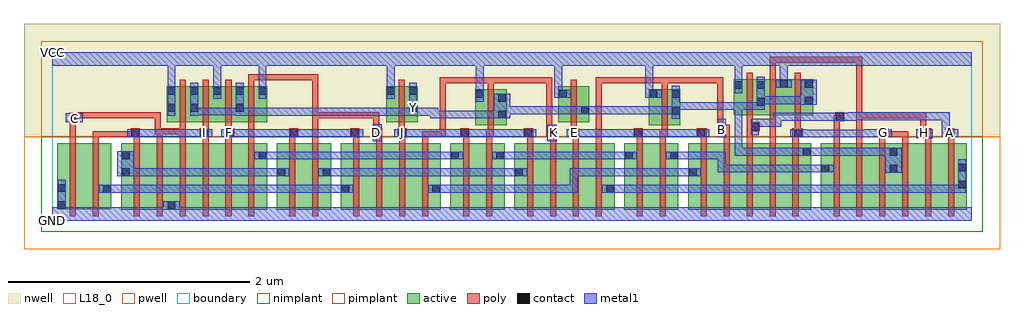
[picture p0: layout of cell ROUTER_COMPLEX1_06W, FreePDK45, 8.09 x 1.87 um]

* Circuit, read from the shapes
.subckt ROUTER_COMPLEX1_06W A B C D E F G GND H I J K VCC Y
M1 n1 C GND VSUBS nfet w=0.55u l=0.05u
M2 n2 I n1 VSUBS nfet w=0.55u l=0.05u
M3 n3 I n4 VSUBS nfet w=0.55u l=0.05u
M4 GND C n3 VSUBS nfet w=0.55u l=0.05u
M5 n5 C GND VSUBS nfet w=0.55u l=0.05u
M6 n6 I n5 VSUBS nfet w=0.55u l=0.05u
M7 n7 F n6 VSUBS nfet w=0.55u l=0.05u
M8 n8 D n7 VSUBS nfet w=0.55u l=0.05u
M9 n9 F n4 VSUBS nfet w=0.55u l=0.05u
M10 n10 D n9 VSUBS nfet w=0.55u l=0.05u
M11 n11 F n2 VSUBS nfet w=0.55u l=0.05u
M12 n12 D n11 VSUBS nfet w=0.55u l=0.05u
M13 n13 J n12 VSUBS nfet w=0.55u l=0.05u
M14 n14 K n13 VSUBS nfet w=0.55u l=0.05u
M15 n15 J n8 VSUBS nfet w=0.55u l=0.05u
M16 n16 K n15 VSUBS nfet w=0.55u l=0.05u
M17 n17 J n10 VSUBS nfet w=0.55u l=0.05u
M18 n18 K n17 VSUBS nfet w=0.55u l=0.05u
M19 n19 E n18 VSUBS nfet w=0.55u l=0.05u
M20 n20 B n19 VSUBS nfet w=0.55u l=0.05u
M21 n21 E n16 VSUBS nfet w=0.55u l=0.05u
M22 n22 B n21 VSUBS nfet w=0.55u l=0.05u
M23 n23 E n14 VSUBS nfet w=0.55u l=0.05u
M24 n24 B n23 VSUBS nfet w=0.55u l=0.05u
M25 n25 A n24 VSUBS nfet w=0.55u l=0.05u
M26 n26 H n25 VSUBS nfet w=0.55u l=0.05u
M27 Y G n26 VSUBS nfet w=0.55u l=0.05u
M28 n27 A n22 VSUBS nfet w=0.55u l=0.05u
M29 n28 H n27 VSUBS nfet w=0.55u l=0.05u
M30 Y G n28 VSUBS nfet w=0.55u l=0.05u
M31 n29 G Y VSUBS nfet w=0.55u l=0.05u
M32 n30 H n29 VSUBS nfet w=0.55u l=0.05u
M33 n20 A n30 VSUBS nfet w=0.55u l=0.05u
M34 Y C VCC n31 pfet w=0.3u l=0.05u
M35 VCC I Y n31 pfet w=0.3u l=0.05u
M36 Y F VCC n31 pfet w=0.3u l=0.05u
M37 VCC D Y n31 pfet w=0.3u l=0.05u
M38 Y J VCC n31 pfet w=0.3u l=0.05u
M39 Y K VCC n31 pfet w=0.3u l=0.05u
M40 Y E VCC n31 pfet w=0.3u l=0.05u
M41 Y B VCC n31 pfet w=0.3u l=0.05u
M42 Y A VCC n31 pfet w=0.3u l=0.05u
M43 VCC H Y n31 pfet w=0.3u l=0.05u
M44 Y G VCC n31 pfet w=0.3u l=0.05u
.ends

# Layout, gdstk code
import gdstk
lib = gdstk.Library(unit=1e-6, precision=1e-09)
def R(c, l, rs):  # rectangles x0, y0, x1, y1
    for r in rs: c.add(gdstk.rectangle(r[:2], r[2:], *l))
def A(c, l, x, y, w, h, nx, ny, dx, dy):  # array of equal rectangles
    R(c, l, [(x+i*dx, y+j*dy, x+i*dx+w, y+j*dy+h) for i in range(nx) for j in range(ny)])
active = (1, 0)
pwell = (2, 0)
nwell = (3, 0)
nimplant = (4, 0)
pimplant = (5, 0)
poly = (9, 0)
contact = (10, 0)
metal1 = (11, 0)
L18_0 = (18, 0)
boundary = (235, 0)

router_complex1_06w = lib.new_cell('ROUTER_COMPLEX1_06W')
A(router_complex1_06w, active, 5.495, 0.092, 0.19, 0.55, 3, 1, 0.19, 0)
A(router_complex1_06w, active, 2.235, 0.095, 0.075, 0.547, 3, 1, 1.44, 0)
R(router_complex1_06w, active, [(0.57,0.092,0.795,0.642), (0.795,0.092,1.025,0.642), (0.95,0.092,1.175,0.642), (0.95,0.092,1.025,0.642), (1.175,0.092,1.365,0.642), (1.365,0.092,1.555,0.642), (1.555,0.092,1.78,0.642), (1.86,0.092,2.085,0.642), (2.085,0.092,2.31,0.642), (2.39,0.092,2.615,0.642), (2.615,0.092,2.805,0.642), (2.805,0.092,2.995,0.642), (2.995,0.092,3.22,0.642), (3.3,0.092,3.525,0.642), (3.525,0.092,3.75,0.642), (3.83,0.092,4.055,0.642), (4.055,0.092,4.245,0.642), (4.245,0.092,4.435,0.642), (4.435,0.092,4.66,0.642), (4.74,0.092,4.965,0.642), (4.965,0.092,5.19,0.642), (5.27,0.092,5.495,0.642), (6.065,0.092,6.29,0.642), (6.37,0.092,6.595,0.642), (6.595,0.092,6.785,0.642), (6.785,0.092,7.01,0.642), (6.935,0.092,7.165,0.642), (7.165,0.092,7.355,0.642), (7.355,0.092,7.58,0.642), (0.04,0.095,0.265,0.645), (0.04,0.095,0.115,0.645), (0.265,0.095,0.49,0.645), (0.415,0.095,0.49,0.645), (0.57,0.095,0.675,0.642), (1.705,0.095,1.78,0.642), (1.86,0.095,1.965,0.642), (2.39,0.095,2.495,0.642), (3.145,0.095,3.22,0.385), (3.3,0.095,3.405,0.642), (3.83,0.095,3.935,0.642), (4.585,0.095,4.66,0.385), (4.74,0.095,4.845,0.642), (5.27,0.095,5.375,0.642), (6.215,0.095,6.29,0.642), (6.37,0.095,6.475,0.642), (6.935,0.095,7.01,0.642), (7.505,0.095,7.58,0.642), (3.505,0.792,3.765,1.092), (3.69,0.792,3.765,1.092), (4.945,0.792,5.205,1.092), (5.13,0.792,5.205,1.092), (0.95,0.817,1.215,1.117), (0.95,0.817,1.025,1.117), (1.14,0.817,1.405,1.117), (1.14,0.817,1.215,1.117), (1.33,0.817,1.59,1.117), (1.515,0.817,1.78,1.117), (1.515,0.817,1.59,1.117), (2.767,0.817,3.027,1.117), (2.952,0.817,3.027,1.117), (4.192,0.817,4.452,1.117), (4.377,0.817,4.452,1.117), (1.705,0.85,1.78,1.117), (5.65,0.875,5.91,1.175), (5.835,0.875,6.1,1.175), (5.835,0.875,5.91,1.175), (6.025,0.875,6.307,1.175), (6.232,0.882,6.307,1.175), (1.33,0.952,1.405,1.117), (2.767,0.952,2.842,1.117), (3.505,0.952,3.58,1.092), (4.192,0.952,4.267,1.117), (4.945,0.952,5.02,1.092), (5.65,0.987,5.725,1.175), (6.025,1.007,6.1,1.175)])
R(router_complex1_06w, pwell, [(-0.235,-0.235,7.855,0.7)])
R(router_complex1_06w, nwell, [(-0.235,0.7,7.855,1.635)])
R(router_complex1_06w, nimplant, [(-0.09,-0.09,7.71,0.7)])
R(router_complex1_06w, pimplant, [(-0.09,0.7,7.71,1.49)])
A(router_complex1_06w, poly, 0.675, 0.037, 0.05, 0.66, 6, 1, 0.19, 0)
A(router_complex1_06w, poly, 2.495, 0.037, 0.05, 0.66, 4, 1, 0.19, 0)
A(router_complex1_06w, poly, 3.935, 0.037, 0.05, 0.66, 4, 1, 0.19, 0)
A(router_complex1_06w, poly, 5.375, 0.037, 0.05, 0.66, 5, 1, 0.19, 0)
A(router_complex1_06w, poly, 6.475, 0.037, 0.05, 0.66, 6, 1, 0.19, 0)
A(router_complex1_06w, poly, 1.435, 0.647, 0.05, 0.095, 3, 1, 0.53, 0)
A(router_complex1_06w, poly, 2.685, 0.647, 0.05, 0.095, 3, 1, 0.19, 0)
A(router_complex1_06w, poly, 3.935, 0.647, 0.05, 0.095, 3, 1, 0.19, 0)
A(router_complex1_06w, poly, 6.855, 0.647, 0.05, 0.095, 4, 1, 0.19, 0)
A(router_complex1_06w, poly, 1.055, 0.717, 0.05, 0.095, 4, 1, 0.19, 0)
A(router_complex1_06w, poly, 1.055, 0.762, 0.05, 0.41, 4, 1, 0.19, 0)
R(router_complex1_06w, poly, [(1.965,0.037,2.015,0.697), (2.155,0.037,2.205,0.697), (3.405,0.037,3.455,0.697), (3.595,0.037,3.645,0.697), (4.845,0.037,4.895,0.697), (5.035,0.037,5.085,0.697), (0.145,0.04,0.195,0.7), (0.335,0.04,0.385,0.7), (0.675,0.647,0.725,0.742), (0.865,0.647,0.915,0.767), (1.055,0.647,1.105,0.767), (1.245,0.647,1.295,0.742), (1.625,0.647,1.675,0.767), (2.155,0.647,2.205,0.9), (3.405,0.647,3.455,0.742), (3.595,0.647,3.645,0.742), (4.505,0.647,4.555,1.192), (4.845,0.647,4.895,0.742), (5.035,0.647,5.085,0.742), (5.375,0.647,5.425,0.742), (5.565,0.647,5.615,0.772), (5.755,0.647,5.805,0.792), (5.945,0.647,5.995,0.742), (6.135,0.647,6.185,0.742), (6.475,0.647,6.525,0.875), (6.665,0.647,6.715,0.9), (0.145,0.65,0.195,0.872), (0.335,0.65,0.385,0.745), (0.65,0.692,0.725,0.767), (1.222,0.692,1.297,0.767), (1.432,0.692,1.507,0.767), (1.965,0.692,2.04,0.767), (2.47,0.692,2.545,0.767), (2.66,0.692,2.735,0.767), (2.862,0.692,2.937,0.767), (3.065,0.692,3.127,0.742), (3.077,0.692,3.127,0.742), (3.077,0.692,3.127,0.742), (3.077,0.692,3.127,0.742), (3.077,0.692,3.127,0.742), (3.077,0.692,3.26,0.742), (3.21,0.692,3.26,0.742), (3.21,0.692,3.26,1.192), (3.38,0.692,3.455,0.767), (3.595,0.692,3.66,0.742), (3.61,0.692,3.66,0.787), (3.907,0.692,3.985,0.767), (4.092,0.692,4.175,0.767), (4.292,0.692,4.367,0.767), (4.82,0.692,4.895,0.767), (5.035,0.692,5.1,0.742), (5.05,0.692,5.1,0.787), (5.34,0.692,5.425,0.767), (5.945,0.692,5.995,0.742), (5.945,0.692,5.995,0.87), (6.135,0.692,6.22,0.767), (6.852,0.692,6.927,0.767), (6.877,0.692,7.095,0.742), (7.045,0.692,7.095,0.742), (7.045,0.692,7.095,0.742), (7.045,0.692,7.095,0.742), (7.192,0.692,7.285,0.767), (7.402,0.692,7.477,0.767), (0.335,0.695,0.385,0.745), (0.335,0.695,0.385,0.745), (0.335,0.695,0.385,0.745), (0.335,0.695,0.7,0.745), (0.65,0.695,0.7,0.745), (0.65,0.695,0.7,0.745), (0.85,0.717,0.9,0.9), (0.85,0.717,0.915,0.767), (0.865,0.717,1.105,0.767), (1.055,0.717,1.105,0.767), (1.055,0.717,1.105,0.767), (1.055,0.717,1.105,0.767), (1.625,0.717,1.675,0.767), (2.66,0.717,2.71,0.767), (2.66,0.717,2.71,0.767), (2.66,0.717,2.71,0.9), (2.872,0.717,2.922,0.812), (4.092,0.717,4.142,1.192), (4.297,0.717,4.347,0.812), (6.152,0.717,6.202,0.87), (7.192,0.717,7.242,0.9), (5.512,0.722,5.615,0.797), (3.61,0.737,3.66,1.192), (5.05,0.737,5.1,1.147), (5.755,0.742,5.862,0.817), (5.512,0.747,5.562,1.192), (2.872,0.762,2.922,1.172), (4.297,0.762,4.347,1.172), (5.755,0.767,5.805,0.87), (5.755,0.82,5.805,1.23), (5.945,0.82,5.995,1.23), (6.152,0.82,6.202,1.23), (0.145,0.822,0.22,0.897), (6.475,0.825,6.525,0.875), (6.475,0.825,6.525,0.875), (6.475,0.825,6.54,0.875), (6.49,0.825,6.565,0.9), (6.49,0.825,6.54,0.875), (0.17,0.847,0.22,0.897), (0.17,0.847,0.22,0.9), (0.17,0.85,0.22,0.9), (0.17,0.85,0.22,0.9), (0.17,0.85,0.22,0.9), (0.17,0.85,0.22,0.9), (0.17,0.85,0.352,0.9), (0.302,0.85,0.352,0.9), (0.302,0.85,0.352,0.9), (0.302,0.85,0.352,0.9), (0.302,0.85,0.517,0.9), (0.467,0.85,0.517,0.9), (0.467,0.85,0.517,0.9), (0.467,0.85,0.517,0.9), (0.467,0.85,0.9,0.9), (0.85,0.85,0.9,0.9), (0.85,0.85,0.9,0.9), (0.85,0.85,0.9,0.9), (0.85,0.85,0.9,0.9), (0.85,0.85,0.9,0.9), (2.155,0.85,2.205,0.9), (2.155,0.85,2.205,0.9), (2.155,0.85,2.205,0.9), (2.155,0.85,2.205,0.9), (2.155,0.85,2.205,0.9), (2.155,0.85,2.337,0.9), (2.155,0.85,2.205,1.217), (2.287,0.85,2.337,0.9), (2.287,0.85,2.337,0.9), (2.287,0.85,2.337,0.9), (2.287,0.85,2.577,0.9), (2.527,0.85,2.577,0.9), (2.527,0.85,2.71,0.9), (2.66,0.85,2.71,0.9), (2.66,0.85,2.71,0.9), (2.66,0.85,2.71,0.9), (6.665,0.85,6.715,0.9), (6.665,0.85,6.715,0.9), (6.665,0.85,6.715,0.9), (6.665,0.85,6.715,0.9), (6.665,0.85,6.715,0.9), (6.665,0.85,6.715,0.9), (6.665,0.85,6.715,0.9), (6.665,0.85,6.847,0.9), (6.665,0.85,6.715,1.362), (6.797,0.85,6.847,0.9), (6.797,0.85,6.847,0.9), (6.797,0.85,6.847,0.9), (6.797,0.85,7.11,0.9), (7.06,0.85,7.11,0.9), (7.06,0.85,7.11,0.9), (7.06,0.85,7.11,0.9), (7.06,0.85,7.242,0.9), (7.192,0.85,7.242,0.9), (7.192,0.85,7.242,0.9), (7.192,0.85,7.242,0.9), (7.192,0.85,7.242,0.9), (7.192,0.85,7.242,0.9), (5.05,1.097,5.1,1.192), (1.625,1.122,1.675,1.217), (3.21,1.142,3.26,1.192), (3.21,1.142,3.26,1.192), (3.21,1.142,3.26,1.192), (3.21,1.142,3.26,1.192), (3.21,1.142,3.26,1.192), (3.21,1.142,3.392,1.192), (3.342,1.142,3.392,1.192), (3.342,1.142,3.392,1.192), (3.342,1.142,3.392,1.192), (3.342,1.142,3.66,1.192), (3.61,1.142,3.66,1.192), (3.61,1.142,3.66,1.192), (3.61,1.142,3.66,1.192), (3.61,1.142,3.66,1.192), (3.61,1.142,3.66,1.192), (3.61,1.142,3.66,1.192), (3.61,1.142,3.66,1.192), (3.61,1.142,4.01,1.192), (3.96,1.142,4.01,1.192), (3.96,1.142,4.01,1.192), (3.96,1.142,4.01,1.192), (3.96,1.142,4.01,1.192), (3.96,1.142,4.01,1.192), (3.96,1.142,4.142,1.192), (4.092,1.142,4.142,1.192), (4.092,1.142,4.142,1.192), (4.092,1.142,4.142,1.192), (4.092,1.142,4.142,1.192), (4.092,1.142,4.142,1.192), (4.505,1.142,4.555,1.192), (4.505,1.142,4.555,1.192), (4.505,1.142,4.555,1.192), (4.505,1.142,4.555,1.192), (4.505,1.142,4.555,1.192), (4.505,1.142,4.555,1.192), (4.505,1.142,4.555,1.192), (4.505,1.142,4.555,1.192), (4.505,1.142,4.555,1.192), (4.505,1.142,4.737,1.192), (4.687,1.142,4.737,1.192), (4.687,1.142,4.737,1.192), (4.687,1.142,4.737,1.192), (4.687,1.142,4.87,1.192), (4.82,1.142,4.87,1.192), (4.82,1.142,4.87,1.192), (4.82,1.142,4.87,1.192), (4.82,1.142,5.1,1.192), (5.05,1.142,5.1,1.192), (5.05,1.142,5.1,1.192), (5.05,1.142,5.1,1.192), (5.05,1.142,5.305,1.192), (5.255,1.142,5.305,1.192), (5.255,1.142,5.305,1.192), (5.255,1.142,5.305,1.192), (5.255,1.142,5.305,1.192), (5.255,1.142,5.305,1.192), (5.255,1.142,5.562,1.192), (5.512,1.142,5.562,1.192), (5.512,1.142,5.562,1.192), (5.512,1.142,5.562,1.192), (5.512,1.142,5.562,1.192), (5.512,1.142,5.562,1.192), (5.512,1.142,5.562,1.192), (5.512,1.142,5.562,1.192), (1.625,1.167,1.675,1.217), (1.625,1.167,1.675,1.217), (1.625,1.167,1.675,1.217), (1.625,1.167,1.882,1.217), (1.832,1.167,1.882,1.217), (1.832,1.167,1.882,1.217), (1.832,1.167,1.882,1.217), (1.832,1.167,2.205,1.217), (2.155,1.167,2.205,1.217), (2.155,1.167,2.205,1.217), (2.155,1.167,2.205,1.217), (2.155,1.167,2.205,1.217), (2.155,1.167,2.205,1.217), (5.945,1.18,5.995,1.362), (5.945,1.312,5.995,1.362), (5.945,1.312,5.995,1.362), (5.945,1.312,5.995,1.362), (5.945,1.312,6.352,1.362), (6.302,1.312,6.352,1.362), (6.302,1.312,6.352,1.362), (6.302,1.312,6.352,1.362), (6.302,1.312,6.352,1.362), (6.302,1.312,6.352,1.362), (6.302,1.312,6.582,1.362), (6.532,1.312,6.582,1.362), (6.532,1.312,6.582,1.362), (6.532,1.312,6.582,1.362), (6.532,1.312,6.715,1.362), (6.665,1.312,6.715,1.362)])
A(router_complex1_06w, contact, 0.955, 1.047, 0.065, 0.065, 3, 1, 0.19, 0)
R(router_complex1_06w, contact, [(0.955,0.097,1.02,0.162), (0.045,0.1,0.11,0.165), (0.42,0.235,0.485,0.3), (2.395,0.235,2.46,0.3), (3.15,0.235,3.215,0.3), (4.59,0.235,4.655,0.3), (0.045,0.24,0.11,0.305), (7.51,0.27,7.575,0.335), (0.575,0.372,0.64,0.437), (1.865,0.372,1.93,0.437), (2.24,0.372,2.305,0.437), (3.835,0.372,3.9,0.437), (5.275,0.372,5.34,0.437), (6.94,0.4,7.005,0.465), (6.375,0.402,6.44,0.467), (7.51,0.41,7.575,0.475), (1.71,0.51,1.775,0.575), (3.305,0.51,3.37,0.575), (3.68,0.51,3.745,0.575), (4.745,0.51,4.81,0.575), (5.12,0.51,5.185,0.575), (0.575,0.512,0.64,0.577), (6.22,0.54,6.285,0.605), (6.94,0.54,7.005,0.605), (0.655,0.697,0.72,0.762), (1.227,0.697,1.292,0.762), (1.437,0.697,1.502,0.762), (1.97,0.697,2.035,0.762), (2.475,0.697,2.54,0.762), (2.665,0.697,2.73,0.762), (2.867,0.697,2.932,0.762), (3.385,0.697,3.45,0.762), (3.912,0.697,3.977,0.762), (4.105,0.697,4.17,0.762), (4.297,0.697,4.362,0.762), (4.825,0.697,4.89,0.762), (5.345,0.697,5.41,0.762), (6.15,0.697,6.215,0.762), (6.857,0.697,6.922,0.762), (7.197,0.697,7.262,0.762), (7.407,0.697,7.472,0.762), (5.517,0.727,5.582,0.792), (5.792,0.747,5.857,0.812), (0.15,0.827,0.215,0.892), (6.495,0.83,6.56,0.895), (3.695,0.85,3.76,0.915), (5.135,0.882,5.2,0.947), (4.382,0.885,4.447,0.95), (0.955,0.907,1.02,0.972), (1.145,0.907,1.21,0.972), (1.52,0.907,1.585,0.972), (2.957,0.907,3.022,0.972), (5.84,0.955,5.905,1.02), (6.237,0.965,6.302,1.03), (3.695,0.99,3.76,1.055), (3.51,1.022,3.575,1.087), (4.197,1.022,4.262,1.087), (4.95,1.022,5.015,1.087), (5.135,1.022,5.2,1.087), (1.52,1.047,1.585,1.112), (1.71,1.047,1.775,1.112), (2.772,1.047,2.837,1.112), (2.957,1.047,3.022,1.112), (5.655,1.095,5.72,1.16), (5.84,1.095,5.905,1.16), (6.03,1.105,6.095,1.17), (6.237,1.105,6.302,1.17)])
R(router_complex1_06w, metal1, [(0,0,7.62,0.115), (0.045,0.05,0.11,0.13), (0.99,0.05,1.055,0.162), (0.045,0.065,0.11,0.34), (0.92,0.097,1.055,0.162), (0.385,0.235,0.52,0.3), (0.455,0.235,0.707,0.3), (0.642,0.235,0.707,0.3), (0.642,0.235,0.707,0.3), (0.642,0.235,0.707,0.3), (0.642,0.235,0.845,0.3), (0.78,0.235,0.845,0.3), (0.78,0.235,0.982,0.3), (0.917,0.235,0.982,0.3), (0.917,0.235,0.982,0.3), (0.917,0.235,0.982,0.3), (0.917,0.235,1.12,0.3), (1.055,0.235,1.12,0.3), (1.055,0.235,1.12,0.3), (1.055,0.235,1.12,0.3), (1.055,0.235,1.257,0.3), (1.192,0.235,1.257,0.3), (1.192,0.235,1.4,0.3), (1.335,0.235,1.4,0.3), (1.335,0.235,1.537,0.3), (1.472,0.235,1.537,0.3), (1.472,0.235,1.537,0.3), (1.472,0.235,1.537,0.3), (1.472,0.235,1.722,0.3), (1.657,0.235,1.722,0.3), (1.657,0.235,1.722,0.3), (1.657,0.235,1.722,0.3), (1.657,0.235,1.947,0.3), (1.882,0.235,1.947,0.3), (1.882,0.235,1.947,0.3), (1.882,0.235,1.947,0.3), (1.882,0.235,2.085,0.3), (2.02,0.235,2.085,0.3), (2.02,0.235,2.23,0.3), (2.165,0.235,2.23,0.3), (2.165,0.235,2.23,0.3), (2.165,0.235,2.23,0.3), (2.165,0.235,2.425,0.3), (2.36,0.235,2.495,0.3), (3.115,0.235,3.25,0.3), (3.185,0.235,3.435,0.3), (3.37,0.235,3.435,0.3), (3.37,0.235,3.435,0.3), (3.37,0.235,3.435,0.3), (3.37,0.235,3.572,0.3), (3.507,0.235,3.572,0.3), (3.507,0.235,3.727,0.3), (3.662,0.235,3.727,0.3), (3.662,0.235,3.727,0.3), (3.662,0.235,3.727,0.3), (3.662,0.235,3.932,0.3), (3.867,0.235,3.932,0.3), (3.867,0.235,3.932,0.3), (3.867,0.235,3.932,0.3), (3.867,0.235,4.08,0.3), (4.015,0.235,4.08,0.3), (4.015,0.235,4.08,0.3), (4.015,0.235,4.08,0.3), (4.015,0.235,4.217,0.3), (4.152,0.235,4.217,0.3), (4.152,0.235,4.217,0.3), (4.152,0.235,4.217,0.3), (4.152,0.235,4.355,0.3), (4.29,0.235,4.355,0.437), (4.555,0.235,4.69,0.3), (4.625,0.235,4.787,0.3), (4.722,0.235,4.787,0.3), (4.722,0.235,4.827,0.3), (4.762,0.235,4.827,0.3), (4.762,0.235,4.925,0.3), (4.86,0.235,4.925,0.3), (4.86,0.235,5.062,0.3), (4.997,0.235,5.062,0.3), (4.997,0.235,5.2,0.3), (5.135,0.235,5.2,0.3), (5.135,0.235,5.2,0.3), (5.135,0.235,5.2,0.3), (5.135,0.235,5.357,0.3), (5.292,0.235,5.357,0.3), (5.292,0.235,5.582,0.3), (5.517,0.235,5.582,0.3), (5.517,0.235,5.582,0.3), (5.517,0.235,5.582,0.3), (5.517,0.235,5.72,0.3), (5.655,0.235,5.72,0.3), (5.655,0.235,5.72,0.3), (5.655,0.235,5.72,0.3), (5.655,0.235,5.857,0.3), (5.792,0.235,5.857,0.3), (5.792,0.235,6.042,0.3), (5.977,0.235,6.042,0.3), (5.977,0.235,6.112,0.3), (6.047,0.235,6.112,0.3), (6.047,0.235,6.267,0.3), (6.202,0.235,6.267,0.3), (6.202,0.235,6.267,0.3), (6.202,0.235,6.267,0.3), (6.202,0.235,6.525,0.3), (6.46,0.235,6.525,0.3), (6.46,0.235,6.525,0.3), (6.46,0.235,6.525,0.3), (6.46,0.235,6.662,0.3), (6.597,0.235,6.662,0.3), (6.597,0.235,6.75,0.3), (6.685,0.235,6.75,0.3), (6.685,0.235,6.8,0.3), (6.735,0.235,6.8,0.3), (6.735,0.235,6.937,0.3), (6.872,0.235,6.937,0.3), (6.872,0.235,6.937,0.3), (6.872,0.235,6.937,0.3), (6.872,0.235,7.09,0.3), (7.025,0.235,7.09,0.3), (7.025,0.235,7.227,0.3), (7.162,0.235,7.227,0.3), (7.162,0.235,7.227,0.3), (7.162,0.235,7.227,0.3), (7.162,0.235,7.435,0.3), (7.37,0.235,7.575,0.3), (7.37,0.235,7.435,0.3), (7.37,0.235,7.435,0.3), (7.37,0.235,7.435,0.3), (7.51,0.235,7.575,0.51), (0.54,0.372,0.675,0.577), (0.61,0.372,0.675,0.437), (0.61,0.372,0.675,0.437), (0.61,0.372,0.845,0.437), (0.78,0.372,0.845,0.437), (0.78,0.372,0.982,0.437), (0.917,0.372,0.982,0.437), (0.917,0.372,0.982,0.437), (0.917,0.372,0.982,0.437), (0.917,0.372,1.12,0.437), (1.055,0.372,1.12,0.437), (1.055,0.372,1.12,0.437), (1.055,0.372,1.12,0.437), (1.055,0.372,1.257,0.437), (1.192,0.372,1.257,0.437), (1.192,0.372,1.4,0.437), (1.335,0.372,1.4,0.437), (1.335,0.372,1.537,0.437), (1.472,0.372,1.537,0.437), (1.472,0.372,1.537,0.437), (1.472,0.372,1.537,0.437), (1.472,0.372,1.722,0.437), (1.657,0.372,1.722,0.437), (1.657,0.372,1.722,0.437), (1.657,0.372,1.722,0.437), (1.657,0.372,1.895,0.437), (1.83,0.372,1.965,0.437), (2.205,0.372,2.34,0.437), (2.275,0.372,2.505,0.437), (2.44,0.372,2.505,0.437), (2.44,0.372,2.505,0.437), (2.44,0.372,2.505,0.437), (2.44,0.372,2.692,0.437), (2.627,0.372,2.692,0.437), (2.627,0.372,2.692,0.437), (2.627,0.372,2.692,0.437), (2.627,0.372,2.83,0.437), (2.765,0.372,2.83,0.437), (2.765,0.372,2.83,0.437), (2.765,0.372,2.83,0.437), (2.765,0.372,2.967,0.437), (2.902,0.372,2.967,0.437), (2.902,0.372,3.197,0.437), (3.132,0.372,3.197,0.437), (3.132,0.372,3.197,0.437), (3.132,0.372,3.197,0.437), (3.132,0.372,3.387,0.437), (3.322,0.372,3.387,0.437), (3.322,0.372,3.387,0.437), (3.322,0.372,3.387,0.437), (3.322,0.372,3.572,0.437), (3.507,0.372,3.572,0.437), (3.507,0.372,3.71,0.437), (3.645,0.372,3.71,0.437), (3.645,0.372,3.71,0.437), (3.645,0.372,3.71,0.437), (3.645,0.372,3.865,0.437), (3.8,0.372,3.935,0.437), (4.29,0.372,4.55,0.437), (4.485,0.372,4.69,0.437), (4.485,0.372,4.55,0.437), (4.625,0.372,4.69,0.437), (4.625,0.372,4.757,0.437), (4.692,0.372,4.757,0.437), (4.692,0.372,4.925,0.437), (4.86,0.372,4.925,0.437), (4.86,0.372,4.925,0.437), (4.86,0.372,4.925,0.437), (4.86,0.372,5.062,0.437), (4.997,0.372,5.062,0.437), (4.997,0.372,5.062,0.437), (4.997,0.372,5.062,0.437), (4.997,0.372,5.305,0.437), (5.24,0.372,5.375,0.437), (6.905,0.4,7.04,0.605), (5.517,0.402,5.582,0.467), (5.517,0.402,5.582,0.467), (5.517,0.402,5.72,0.467), (5.517,0.402,5.582,0.575), (5.655,0.402,5.72,0.467), (5.655,0.402,5.72,0.467), (5.655,0.402,5.72,0.467), (5.655,0.402,5.857,0.467), (5.792,0.402,5.857,0.467), (5.792,0.402,5.995,0.467), (5.93,0.402,5.995,0.467), (5.93,0.402,6.112,0.467), (6.047,0.402,6.112,0.467), (6.047,0.402,6.25,0.467), (6.185,0.402,6.25,0.467), (6.185,0.402,6.25,0.467), (6.185,0.402,6.25,0.467), (6.185,0.402,6.405,0.467), (6.34,0.402,6.475,0.467), (1.675,0.51,1.81,0.575), (1.745,0.51,1.947,0.575), (1.882,0.51,1.947,0.575), (1.882,0.51,1.947,0.575), (1.882,0.51,1.947,0.575), (1.882,0.51,2.085,0.575), (2.02,0.51,2.085,0.575), (2.02,0.51,2.23,0.575), (2.165,0.51,2.23,0.575), (2.165,0.51,2.23,0.575), (2.165,0.51,2.23,0.575), (2.165,0.51,2.505,0.575), (2.44,0.51,2.505,0.575), (2.44,0.51,2.505,0.575), (2.44,0.51,2.505,0.575), (2.44,0.51,2.692,0.575), (2.627,0.51,2.692,0.575), (2.627,0.51,2.692,0.575), (2.627,0.51,2.692,0.575), (2.627,0.51,2.83,0.575), (2.765,0.51,2.83,0.575), (2.765,0.51,2.967,0.575), (2.902,0.51,2.967,0.575), (2.902,0.51,2.967,0.575), (2.902,0.51,2.967,0.575), (2.902,0.51,3.16,0.575), (3.095,0.51,3.16,0.575), (3.095,0.51,3.16,0.575), (3.095,0.51,3.16,0.575), (3.095,0.51,3.335,0.575), (3.27,0.51,3.405,0.575), (3.645,0.51,3.78,0.575), (3.715,0.51,3.942,0.575), (3.877,0.51,3.942,0.575), (3.877,0.51,3.942,0.575), (3.877,0.51,3.942,0.575), (3.877,0.51,4.08,0.575), (4.015,0.51,4.08,0.575), (4.015,0.51,4.08,0.575), (4.015,0.51,4.08,0.575), (4.015,0.51,4.217,0.575), (4.152,0.51,4.217,0.575), (4.152,0.51,4.355,0.575), (4.29,0.51,4.355,0.575), (4.29,0.51,4.355,0.575), (4.29,0.51,4.355,0.575), (4.29,0.51,4.62,0.575), (4.555,0.51,4.62,0.575), (4.555,0.51,4.62,0.575), (4.555,0.51,4.62,0.575), (4.555,0.51,4.775,0.575), (4.71,0.51,4.845,0.575), (5.085,0.51,5.22,0.575), (5.155,0.51,5.357,0.575), (5.292,0.51,5.357,0.575), (5.292,0.51,5.357,0.575), (5.292,0.51,5.357,0.575), (5.292,0.51,5.582,0.575), (5.655,0.54,5.72,0.605), (5.655,0.54,5.72,0.605), (5.655,0.54,5.72,0.605), (5.655,0.54,5.72,0.605), (5.655,0.54,5.72,0.605), (5.655,0.54,5.857,0.605), (5.655,0.54,5.72,0.985), (5.792,0.54,5.857,0.605), (5.792,0.54,5.857,0.605), (5.792,0.54,5.857,0.605), (5.792,0.54,6.042,0.605), (5.977,0.54,6.042,0.605), (5.977,0.54,6.095,0.605), (6.03,0.54,6.095,0.605), (6.03,0.54,6.25,0.605), (6.185,0.54,6.25,0.605), (6.185,0.54,6.25,0.605), (6.185,0.54,6.32,0.605), (6.255,0.54,6.525,0.605), (6.46,0.54,6.525,0.605), (6.46,0.54,6.525,0.605), (6.46,0.54,6.525,0.605), (6.46,0.54,6.662,0.605), (6.597,0.54,6.662,0.605), (6.597,0.54,6.747,0.605), (6.682,0.54,6.747,0.605), (6.682,0.54,6.8,0.605), (6.735,0.54,6.8,0.605), (6.735,0.54,6.887,0.605), (6.822,0.54,6.887,0.605), (6.822,0.54,6.97,0.605), (2.655,0.66,2.73,0.8), (4.102,0.662,4.182,0.797), (7.162,0.685,7.297,0.762), (5.517,0.692,5.582,0.847), (6.115,0.692,6.25,0.762), (6.185,0.692,6.25,0.757), (6.185,0.692,6.25,0.757), (6.185,0.692,6.525,0.757), (6.46,0.692,6.525,0.757), (6.46,0.692,6.525,0.757), (6.46,0.692,6.525,0.757), (6.46,0.692,6.662,0.757), (6.597,0.692,6.662,0.757), (6.597,0.692,6.75,0.757), (6.685,0.692,6.75,0.757), (6.685,0.692,6.8,0.757), (6.735,0.692,6.8,0.762), (0.62,0.697,0.755,0.762), (0.69,0.697,0.845,0.762), (0.78,0.697,0.845,0.762), (0.78,0.697,0.982,0.762), (0.917,0.697,0.982,0.762), (0.917,0.697,0.982,0.762), (0.917,0.697,0.982,0.762), (0.917,0.697,1.12,0.762), (1.055,0.697,1.12,0.762), (1.055,0.697,1.257,0.762), (1.192,0.697,1.257,0.762), (1.192,0.697,1.257,0.762), (1.192,0.697,1.327,0.762), (1.402,0.697,1.537,0.762), (1.472,0.697,1.537,0.762), (1.472,0.697,1.537,0.762), (1.472,0.697,1.722,0.762), (1.657,0.697,1.722,0.762), (1.657,0.697,1.722,0.762), (1.657,0.697,1.722,0.762), (1.657,0.697,1.86,0.762), (1.795,0.697,2,0.762), (1.795,0.697,1.86,0.762), (1.935,0.697,2.07,0.762), (2.005,0.697,2.085,0.762), (2.02,0.697,2.085,0.762), (2.02,0.697,2.23,0.762), (2.165,0.697,2.23,0.762), (2.165,0.697,2.367,0.762), (2.302,0.697,2.367,0.762), (2.302,0.697,2.367,0.762), (2.302,0.697,2.367,0.762), (2.302,0.697,2.505,0.762), (2.44,0.697,2.575,0.762), (2.832,0.697,2.967,0.762), (2.902,0.697,2.967,0.762), (2.902,0.697,2.967,0.762), (2.902,0.697,3.16,0.762), (3.095,0.697,3.16,0.762), (3.095,0.697,3.16,0.762), (3.095,0.697,3.16,0.762), (3.095,0.697,3.415,0.762), (3.35,0.697,3.415,0.762), (3.35,0.697,3.415,0.762), (3.35,0.697,3.485,0.762), (3.42,0.697,3.572,0.762), (3.507,0.697,3.572,0.762), (3.507,0.697,3.71,0.762), (3.645,0.697,3.71,0.762), (3.645,0.697,3.71,0.762), (3.645,0.697,3.71,0.762), (3.645,0.697,3.942,0.762), (3.877,0.697,3.942,0.762), (3.877,0.697,3.942,0.762), (3.877,0.697,4.012,0.762), (4.262,0.697,4.397,0.762), (4.332,0.697,4.397,0.762), (4.332,0.697,4.397,0.762), (4.332,0.697,4.62,0.762), (4.555,0.697,4.62,0.762), (4.555,0.697,4.62,0.762), (4.555,0.697,4.62,0.762), (4.555,0.697,4.757,0.762), (4.692,0.697,4.757,0.762), (4.692,0.697,4.855,0.762), (4.79,0.697,4.925,0.762), (4.86,0.697,4.925,0.762), (4.86,0.697,4.925,0.762), (4.86,0.697,5.062,0.762), (4.997,0.697,5.062,0.762), (4.997,0.697,5.062,0.762), (4.997,0.697,5.062,0.762), (4.997,0.697,5.375,0.762), (5.31,0.697,5.375,0.762), (5.31,0.697,5.375,0.762), (5.31,0.697,5.445,0.762), (6.735,0.697,6.887,0.762), (6.822,0.697,6.957,0.762), (7.372,0.697,7.437,0.762), (7.372,0.697,7.437,0.762), (7.372,0.697,7.437,0.762), (7.372,0.697,7.437,0.762), (7.372,0.697,7.507,0.762), (7.372,0.697,7.437,0.9), (5.792,0.712,5.857,0.847), (5.792,0.782,5.857,0.847), (5.792,0.782,5.857,0.847), (5.792,0.782,5.857,0.847), (5.792,0.782,5.857,0.847), (5.792,0.782,6.042,0.847), (5.977,0.782,6.042,0.895), (0.112,0.817,0.252,0.892), (5.977,0.83,6.042,0.895), (5.977,0.83,6.042,0.895), (5.977,0.83,6.267,0.895), (6.202,0.83,6.267,0.895), (6.202,0.83,6.387,0.895), (6.322,0.83,6.387,0.895), (6.322,0.83,6.525,0.895), (6.46,0.83,6.525,0.895), (6.46,0.83,6.525,0.895), (6.46,0.83,6.525,0.895), (6.46,0.83,6.525,0.895), (6.46,0.83,6.595,0.895), (6.53,0.83,6.662,0.895), (6.597,0.83,6.662,0.9), (6.597,0.835,6.732,0.9), (6.667,0.835,6.732,0.9), (6.667,0.835,6.8,0.9), (6.735,0.835,6.8,0.9), (6.735,0.835,6.952,0.9), (6.887,0.835,6.952,0.9), (6.887,0.835,6.952,0.9), (6.887,0.835,6.952,0.9), (6.887,0.835,7.09,0.9), (7.025,0.835,7.09,0.9), (7.025,0.835,7.09,0.9), (7.025,0.835,7.09,0.9), (7.025,0.835,7.227,0.9), (7.162,0.835,7.227,0.9), (7.162,0.835,7.437,0.9), (7.372,0.835,7.437,0.9), (5.135,0.847,5.2,1.122), (3.132,0.85,3.197,0.915), (3.132,0.85,3.335,0.915), (3.132,0.85,3.197,0.937), (3.27,0.85,3.335,0.915), (3.27,0.85,3.572,0.915), (3.507,0.85,3.572,0.915), (3.507,0.85,3.572,0.915), (3.507,0.85,3.572,0.915), (3.507,0.85,3.725,0.915), (3.66,0.85,3.725,0.915), (3.66,0.85,3.725,0.915), (3.66,0.85,3.795,1.055), (0.955,0.872,1.02,1.147), (1.145,0.872,1.21,1.147), (1.52,0.872,1.585,1.147), (1.52,0.872,1.722,0.937), (1.657,0.872,1.722,0.937), (1.657,0.872,1.722,0.937), (1.657,0.872,1.722,0.937), (1.657,0.872,1.947,0.937), (1.882,0.872,1.947,0.937), (1.882,0.872,1.947,0.937), (1.882,0.872,1.947,0.937), (1.882,0.872,2.085,0.937), (2.02,0.872,2.085,0.937), (2.02,0.872,2.222,0.937), (2.157,0.872,2.222,0.937), (2.157,0.872,2.222,0.937), (2.157,0.872,2.222,0.937), (2.157,0.872,2.555,0.937), (2.49,0.872,2.555,0.937), (2.49,0.872,2.555,0.937), (2.49,0.872,2.555,0.937), (2.49,0.872,2.692,0.937), (2.627,0.872,2.692,0.937), (2.627,0.872,2.692,0.937), (2.627,0.872,2.692,0.937), (2.627,0.872,2.83,0.937), (2.765,0.872,2.83,0.937), (2.765,0.872,2.83,0.937), (2.765,0.872,2.83,0.937), (2.765,0.872,3.022,0.937), (2.957,0.872,3.022,1.147), (2.957,0.872,3.022,0.937), (2.957,0.872,3.022,0.937), (2.957,0.872,3.197,0.937), (3.132,0.872,3.197,0.937), (3.132,0.872,3.197,0.937), (3.132,0.872,3.197,0.937), (1.145,0.875,1.33,0.94), (1.265,0.875,1.33,0.94), (1.265,0.875,1.395,0.94), (1.33,0.875,1.395,0.94), (1.33,0.875,1.585,0.94), (1.52,0.875,1.585,0.94), (1.52,0.875,1.585,0.94), (3.73,0.885,3.932,0.95), (3.867,0.885,3.932,0.95), (3.867,0.885,3.932,0.95), (3.867,0.885,3.932,0.95), (3.867,0.885,4.08,0.95), (4.015,0.885,4.08,0.95), (4.015,0.885,4.08,0.95), (4.015,0.885,4.08,0.95), (4.015,0.885,4.217,0.95), (4.152,0.885,4.217,0.95), (4.152,0.885,4.412,0.95), (4.347,0.885,4.412,0.95), (4.347,0.885,4.412,0.95), (4.347,0.885,4.482,0.95), (4.417,0.885,4.62,0.95), (4.555,0.885,4.62,0.95), (4.555,0.885,4.62,0.95), (4.555,0.885,4.62,0.95), (4.555,0.885,4.787,0.95), (4.722,0.885,4.787,0.95), (4.722,0.885,4.925,0.95), (4.86,0.885,4.925,0.95), (4.86,0.885,4.925,0.95), (4.86,0.885,4.925,0.95), (4.86,0.885,5.062,0.95), (4.997,0.885,5.062,0.95), (4.997,0.885,5.2,0.95), (5.135,0.92,5.2,0.985), (5.135,0.92,5.2,0.985), (5.135,0.92,5.357,0.985), (5.292,0.92,5.357,0.985), (5.292,0.92,5.582,0.985), (5.517,0.92,5.582,0.985), (5.517,0.92,5.582,0.985), (5.517,0.92,5.582,0.985), (5.517,0.92,5.72,0.985), (5.655,0.92,5.72,0.985), (5.655,0.92,5.72,0.985), (5.655,0.92,5.72,0.985), (5.655,0.92,5.905,0.985), (5.84,0.92,5.905,1.195), (6.202,0.965,6.337,1.17), (5.84,0.967,5.995,1.032), (5.93,0.967,5.995,1.032), (5.93,0.967,6.042,1.032), (5.977,0.967,6.042,1.032), (5.977,0.967,6.267,1.032), (6.202,0.967,6.267,1.032), (6.202,0.967,6.267,1.032), (3.51,0.987,3.575,1.122), (1.335,1.012,1.4,1.147), (1.71,1.012,1.775,1.147), (2.772,1.012,2.837,1.147), (4.162,1.022,4.227,1.087), (4.162,1.022,4.227,1.087), (4.162,1.022,4.297,1.087), (4.162,1.022,4.227,1.35), (4.915,1.022,5.05,1.087), (4.915,1.022,4.98,1.35), (3.51,1.057,3.575,1.122), (3.51,1.057,3.575,1.122), (3.51,1.057,3.575,1.35), (5.655,1.06,5.72,1.195), (0.955,1.082,1.02,1.147), (0.955,1.082,1.02,1.147), (0.955,1.082,1.02,1.35), (1.335,1.082,1.4,1.147), (1.335,1.082,1.4,1.147), (1.335,1.082,1.4,1.35), (1.71,1.082,1.775,1.147), (1.71,1.082,1.775,1.147), (1.71,1.082,1.775,1.35), (2.772,1.082,2.837,1.147), (2.772,1.082,2.837,1.147), (2.772,1.082,2.837,1.35), (5.995,1.105,6.13,1.17), (6.03,1.105,6.095,1.17), (6.03,1.105,6.095,1.17), (6.03,1.105,6.095,1.35), (5.655,1.13,5.72,1.195), (5.655,1.13,5.72,1.195), (5.655,1.13,5.72,1.35), (0,1.285,7.62,1.4), (4.915,1.285,4.98,1.35), (4.915,1.285,4.98,1.35)])
R(router_complex1_06w, L18_0, [(0,0,7.62,0.115), (0.045,0.05,0.11,0.13), (0.99,0.05,1.055,0.162), (0.045,0.065,0.11,0.34), (0.92,0.097,1.055,0.162), (6.905,0.4,7.04,0.605), (5.655,0.54,5.72,0.605), (5.655,0.54,5.72,0.605), (5.655,0.54,5.72,0.605), (5.655,0.54,5.72,0.605), (5.655,0.54,5.72,0.605), (5.655,0.54,5.857,0.605), (5.655,0.54,5.72,0.985), (5.792,0.54,5.857,0.605), (5.792,0.54,5.857,0.605), (5.792,0.54,5.857,0.605), (5.792,0.54,6.042,0.605), (5.977,0.54,6.042,0.605), (5.977,0.54,6.095,0.605), (6.03,0.54,6.095,0.605), (6.03,0.54,6.25,0.605), (6.185,0.54,6.32,0.605), (6.185,0.54,6.25,0.605), (6.185,0.54,6.25,0.605), (6.255,0.54,6.525,0.605), (6.46,0.54,6.525,0.605), (6.46,0.54,6.525,0.605), (6.46,0.54,6.525,0.605), (6.46,0.54,6.662,0.605), (6.597,0.54,6.662,0.605), (6.597,0.54,6.747,0.605), (6.682,0.54,6.747,0.605), (6.682,0.54,6.8,0.605), (6.735,0.54,6.8,0.605), (6.735,0.54,6.887,0.605), (6.822,0.54,6.887,0.605), (6.822,0.54,6.97,0.605), (2.655,0.66,2.73,0.8), (4.102,0.662,4.182,0.797), (7.162,0.685,7.297,0.762), (5.517,0.692,5.582,0.847), (6.115,0.692,6.25,0.762), (6.185,0.692,6.25,0.757), (6.185,0.692,6.25,0.757), (6.185,0.692,6.525,0.757), (6.46,0.692,6.525,0.757), (6.46,0.692,6.525,0.757), (6.46,0.692,6.525,0.757), (6.46,0.692,6.662,0.757), (6.597,0.692,6.662,0.757), (6.597,0.692,6.75,0.757), (6.685,0.692,6.75,0.757), (6.685,0.692,6.8,0.757), (6.735,0.692,6.8,0.762), (0.62,0.697,0.755,0.762), (0.69,0.697,0.845,0.762), (0.78,0.697,0.845,0.762), (0.78,0.697,0.982,0.762), (0.917,0.697,0.982,0.762), (0.917,0.697,0.982,0.762), (0.917,0.697,0.982,0.762), (0.917,0.697,1.12,0.762), (1.055,0.697,1.12,0.762), (1.055,0.697,1.257,0.762), (1.192,0.697,1.327,0.762), (1.192,0.697,1.257,0.762), (1.192,0.697,1.257,0.762), (1.227,0.697,1.292,0.762), (1.402,0.697,1.537,0.762), (1.437,0.697,1.502,0.762), (1.472,0.697,1.537,0.762), (1.472,0.697,1.537,0.762), (1.472,0.697,1.722,0.762), (1.657,0.697,1.722,0.762), (1.657,0.697,1.722,0.762), (1.657,0.697,1.722,0.762), (1.657,0.697,1.86,0.762), (1.795,0.697,1.86,0.762), (1.795,0.697,2,0.762), (1.935,0.697,2.07,0.762), (2.005,0.697,2.085,0.762), (2.02,0.697,2.085,0.762), (2.02,0.697,2.23,0.762), (2.165,0.697,2.23,0.762), (2.165,0.697,2.367,0.762), (2.302,0.697,2.367,0.762), (2.302,0.697,2.367,0.762), (2.302,0.697,2.367,0.762), (2.302,0.697,2.505,0.762), (2.44,0.697,2.575,0.762), (2.657,0.697,2.722,0.762), (2.832,0.697,2.967,0.762), (2.867,0.697,2.932,0.762), (2.902,0.697,2.967,0.762), (2.902,0.697,2.967,0.762), (2.902,0.697,3.16,0.762), (3.095,0.697,3.16,0.762), (3.095,0.697,3.16,0.762), (3.095,0.697,3.16,0.762), (3.095,0.697,3.415,0.762), (3.35,0.697,3.485,0.762), (3.35,0.697,3.415,0.762), (3.35,0.697,3.415,0.762), (3.42,0.697,3.572,0.762), (3.507,0.697,3.572,0.762), (3.507,0.697,3.71,0.762), (3.645,0.697,3.71,0.762), (3.645,0.697,3.71,0.762), (3.645,0.697,3.71,0.762), (3.645,0.697,3.942,0.762), (3.877,0.697,4.012,0.762), (3.877,0.697,3.942,0.762), (3.877,0.697,3.942,0.762), (4.117,0.697,4.182,0.762), (4.262,0.697,4.397,0.762), (4.297,0.697,4.362,0.762), (4.332,0.697,4.397,0.762), (4.332,0.697,4.397,0.762), (4.332,0.697,4.62,0.762), (4.555,0.697,4.62,0.762), (4.555,0.697,4.62,0.762), (4.555,0.697,4.62,0.762), (4.555,0.697,4.757,0.762), (4.692,0.697,4.757,0.762), (4.692,0.697,4.855,0.762), (4.79,0.697,4.925,0.762), (4.86,0.697,4.925,0.762), (4.86,0.697,4.925,0.762), (4.86,0.697,5.062,0.762), (4.997,0.697,5.062,0.762), (4.997,0.697,5.062,0.762), (4.997,0.697,5.062,0.762), (4.997,0.697,5.375,0.762), (5.31,0.697,5.445,0.762), (5.31,0.697,5.375,0.762), (5.31,0.697,5.375,0.762), (6.735,0.697,6.887,0.762), (6.822,0.697,6.957,0.762), (6.857,0.697,6.922,0.762), (7.197,0.697,7.262,0.762), (7.372,0.697,7.507,0.762), (7.372,0.697,7.437,0.762), (7.372,0.697,7.437,0.762), (7.372,0.697,7.437,0.762), (7.372,0.697,7.437,0.762), (7.372,0.697,7.437,0.9), (7.407,0.697,7.472,0.762), (5.792,0.712,5.857,0.847), (5.517,0.727,5.582,0.792), (5.792,0.782,5.857,0.847), (5.792,0.782,5.857,0.847), (5.792,0.782,5.857,0.847), (5.792,0.782,5.857,0.847), (5.792,0.782,6.042,0.847), (5.977,0.782,6.042,0.895), (0.112,0.817,0.252,0.892), (0.147,0.817,0.212,0.882), (5.977,0.83,6.042,0.895), (5.977,0.83,6.042,0.895), (5.977,0.83,6.267,0.895), (6.202,0.83,6.267,0.895), (6.202,0.83,6.387,0.895), (6.322,0.83,6.387,0.895), (6.322,0.83,6.525,0.895), (6.46,0.83,6.595,0.895), (6.46,0.83,6.525,0.895), (6.46,0.83,6.525,0.895), (6.46,0.83,6.525,0.895), (6.46,0.83,6.525,0.895), (6.53,0.83,6.662,0.895), (6.597,0.83,6.662,0.9), (6.597,0.835,6.732,0.9), (6.667,0.835,6.732,0.9), (6.667,0.835,6.8,0.9), (6.735,0.835,6.8,0.9), (6.735,0.835,6.952,0.9), (6.887,0.835,6.952,0.9), (6.887,0.835,6.952,0.9), (6.887,0.835,6.952,0.9), (6.887,0.835,7.09,0.9), (7.025,0.835,7.09,0.9), (7.025,0.835,7.09,0.9), (7.025,0.835,7.09,0.9), (7.025,0.835,7.227,0.9), (7.162,0.835,7.227,0.9), (7.162,0.835,7.437,0.9), (7.372,0.835,7.437,0.9), (5.135,0.847,5.2,1.122), (3.132,0.85,3.197,0.915), (3.132,0.85,3.335,0.915), (3.132,0.85,3.197,0.937), (3.27,0.85,3.335,0.915), (3.27,0.85,3.572,0.915), (3.507,0.85,3.572,0.915), (3.507,0.85,3.572,0.915), (3.507,0.85,3.572,0.915), (3.507,0.85,3.725,0.915), (3.66,0.85,3.725,0.915), (3.66,0.85,3.725,0.915), (3.66,0.85,3.795,1.055), (0.955,0.872,1.02,1.147), (1.145,0.872,1.21,1.147), (1.52,0.872,1.585,1.147), (1.52,0.872,1.722,0.937), (1.657,0.872,1.722,0.937), (1.657,0.872,1.722,0.937), (1.657,0.872,1.722,0.937), (1.657,0.872,1.947,0.937), (1.882,0.872,1.947,0.937), (1.882,0.872,1.947,0.937), (1.882,0.872,1.947,0.937), (1.882,0.872,2.085,0.937), (2.02,0.872,2.085,0.937), (2.02,0.872,2.222,0.937), (2.157,0.872,2.222,0.937), (2.157,0.872,2.222,0.937), (2.157,0.872,2.222,0.937), (2.157,0.872,2.555,0.937), (2.49,0.872,2.555,0.937), (2.49,0.872,2.555,0.937), (2.49,0.872,2.555,0.937), (2.49,0.872,2.692,0.937), (2.627,0.872,2.692,0.937), (2.627,0.872,2.692,0.937), (2.627,0.872,2.692,0.937), (2.627,0.872,2.83,0.937), (2.765,0.872,2.83,0.937), (2.765,0.872,2.83,0.937), (2.765,0.872,2.83,0.937), (2.765,0.872,3.022,0.937), (2.957,0.872,3.022,1.147), (2.957,0.872,3.022,0.937), (2.957,0.872,3.022,0.937), (2.957,0.872,3.197,0.937), (3.132,0.872,3.197,0.937), (3.132,0.872,3.197,0.937), (3.132,0.872,3.197,0.937), (1.145,0.875,1.33,0.94), (1.265,0.875,1.33,0.94), (1.265,0.875,1.395,0.94), (1.33,0.875,1.395,0.94), (1.33,0.875,1.585,0.94), (1.52,0.875,1.585,0.94), (1.52,0.875,1.585,0.94), (3.73,0.885,3.932,0.95), (3.867,0.885,3.932,0.95), (3.867,0.885,3.932,0.95), (3.867,0.885,3.932,0.95), (3.867,0.885,4.08,0.95), (4.015,0.885,4.08,0.95), (4.015,0.885,4.08,0.95), (4.015,0.885,4.08,0.95), (4.015,0.885,4.217,0.95), (4.152,0.885,4.217,0.95), (4.152,0.885,4.412,0.95), (4.347,0.885,4.482,0.95), (4.347,0.885,4.412,0.95), (4.347,0.885,4.412,0.95), (4.417,0.885,4.62,0.95), (4.555,0.885,4.62,0.95), (4.555,0.885,4.62,0.95), (4.555,0.885,4.62,0.95), (4.555,0.885,4.787,0.95), (4.722,0.885,4.787,0.95), (4.722,0.885,4.925,0.95), (4.86,0.885,4.925,0.95), (4.86,0.885,4.925,0.95), (4.86,0.885,4.925,0.95), (4.86,0.885,5.062,0.95), (4.997,0.885,5.062,0.95), (4.997,0.885,5.2,0.95), (2.957,0.907,3.022,0.972), (5.135,0.92,5.2,0.985), (5.135,0.92,5.2,0.985), (5.135,0.92,5.357,0.985), (5.292,0.92,5.357,0.985), (5.292,0.92,5.582,0.985), (5.517,0.92,5.582,0.985), (5.517,0.92,5.582,0.985), (5.517,0.92,5.582,0.985), (5.517,0.92,5.72,0.985), (5.655,0.92,5.72,0.985), (5.655,0.92,5.72,0.985), (5.655,0.92,5.72,0.985), (5.655,0.92,5.905,0.985), (5.84,0.92,5.905,1.195), (6.202,0.965,6.337,1.17), (5.84,0.967,5.995,1.032), (5.93,0.967,5.995,1.032), (5.93,0.967,6.042,1.032), (5.977,0.967,6.042,1.032), (5.977,0.967,6.267,1.032), (6.202,0.967,6.267,1.032), (6.202,0.967,6.267,1.032), (3.51,0.987,3.575,1.122), (1.335,1.012,1.4,1.147), (1.71,1.012,1.775,1.147), (2.772,1.012,2.837,1.147), (4.162,1.022,4.297,1.087), (4.162,1.022,4.227,1.087), (4.162,1.022,4.227,1.087), (4.162,1.022,4.227,1.35), (4.915,1.022,5.05,1.087), (4.915,1.022,4.98,1.35), (3.51,1.057,3.575,1.122), (3.51,1.057,3.575,1.122), (3.51,1.057,3.575,1.35), (5.655,1.06,5.72,1.195), (0.955,1.082,1.02,1.147), (0.955,1.082,1.02,1.147), (0.955,1.082,1.02,1.35), (1.335,1.082,1.4,1.147), (1.335,1.082,1.4,1.147), (1.335,1.082,1.4,1.35), (1.71,1.082,1.775,1.147), (1.71,1.082,1.775,1.147), (1.71,1.082,1.775,1.35), (2.772,1.082,2.837,1.147), (2.772,1.082,2.837,1.147), (2.772,1.082,2.837,1.35), (5.995,1.105,6.13,1.17), (6.03,1.105,6.095,1.17), (6.03,1.105,6.095,1.17), (6.03,1.105,6.095,1.35), (5.655,1.13,5.72,1.195), (5.655,1.13,5.72,1.195), (5.655,1.13,5.72,1.35), (0,1.285,7.62,1.4), (4.915,1.285,4.98,1.35), (4.915,1.285,4.98,1.35)])
R(router_complex1_06w, boundary, [(0,0,7.62,1.4)])
router_complex1_06w.add(gdstk.Label('A', (7.44,0.73), layer=11, texttype=0))
router_complex1_06w.add(gdstk.Label('B', (5.55,0.76), layer=11, texttype=0))
router_complex1_06w.add(gdstk.Label('C', (0.18,0.85), layer=11, texttype=0))
router_complex1_06w.add(gdstk.Label('D', (2.69,0.73), layer=11, texttype=0))
router_complex1_06w.add(gdstk.Label('E', (4.33,0.73), layer=11, texttype=0))
router_complex1_06w.add(gdstk.Label('F', (1.47,0.73), layer=11, texttype=0))
router_complex1_06w.add(gdstk.Label('G', (6.89,0.73), layer=11, texttype=0))
router_complex1_06w.add(gdstk.Label('H', (7.23,0.73), layer=11, texttype=0))
router_complex1_06w.add(gdstk.Label('I', (1.26,0.73), layer=11, texttype=0))
router_complex1_06w.add(gdstk.Label('J', (2.9,0.73), layer=11, texttype=0))
router_complex1_06w.add(gdstk.Label('K', (4.15,0.73), layer=11, texttype=0))
router_complex1_06w.add(gdstk.Label('Y', (2.99,0.94), layer=11, texttype=0))
router_complex1_06w.add(gdstk.Label('VCC', (0,1.4), layer=11, texttype=0))
router_complex1_06w.add(gdstk.Label('GND', (0,0), layer=11, texttype=0))

lib.write_gds('ROUTER_COMPLEX1_06W.gds')
